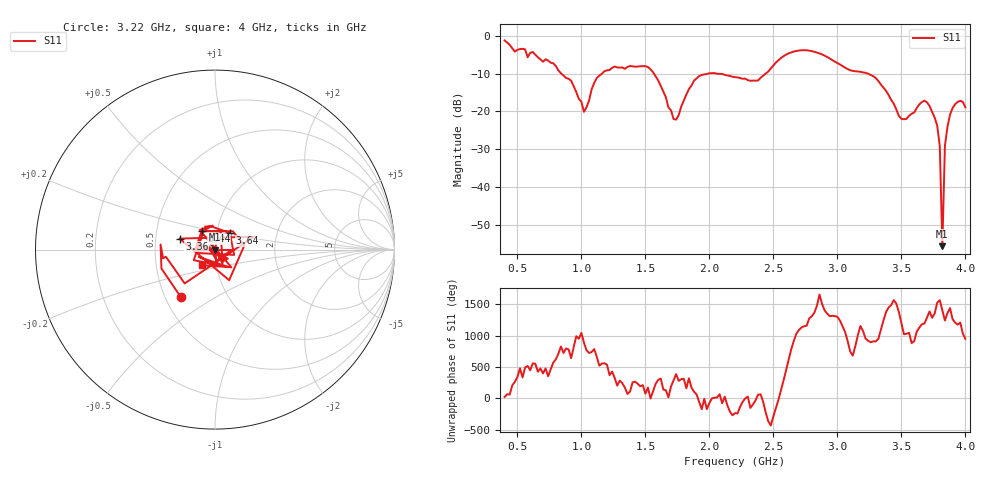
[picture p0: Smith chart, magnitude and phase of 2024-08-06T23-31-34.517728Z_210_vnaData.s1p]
!Created with skrf (http://scikit-rf.org).
# Hz S RI R 50.0
!freq ReS11 ImS11
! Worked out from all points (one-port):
!   181 points, 400 MHz to 4 GHz, reference 50 ohm
!   lowest |S11| = -55.7 dB at 3.82 GHz (marker M1), VSWR 1.00, Z = 50.1 - j0.104 ohm
!   |S11| at or under -10 dB: 1.567 GHz to 1.988 GHz (420.7 MHz wide, 23.7 % of centre); 2.059 GHz to 2.44 GHz (380.7 MHz wide, 16.9 % of centre); 3.24 GHz to end of sweep (the widest 3 of 4)
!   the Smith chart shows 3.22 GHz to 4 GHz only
!   S11 on the Smith chart (normalised r, x): 3.22 GHz: 0.60, -0.35; 3.36 GHz: 0.67, +0.09; 3.44 GHz: 0.84, +0.18; 3.64 GHz: 1.16, +0.22; 4 GHz: 0.85, -0.15
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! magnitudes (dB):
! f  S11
! 400 MHz  -1.2
! 860 MHz  -10.5
! 920 MHz  -11.9
! 1.02 GHz  -20.1
! 1.12 GHz  -11.1
! 1.3 GHz  -8.4
! 1.52 GHz  -8.2
! 1.72 GHz  -22.0
! 1.76 GHz  -21.0
! 1.92 GHz  -10.6
! 2.2 GHz  -10.9
! 2.38 GHz  -11.8
! 2.66 GHz  -4.1
! 3.1 GHz  -9.1
! 3.22 GHz  -9.8
! 3.36 GHz  -13.7
! 3.44 GHz  -17.9
! 3.5 GHz  -21.9
! 3.56 GHz  -21.2
! 3.64 GHz  -18.1
! 3.7 GHz  -17.6
! 3.78 GHz  -23.8
! 3.8 GHz  -29.2
! 3.82 GHz  -55.7
! 3.84 GHz  -29.1
! 3.86 GHz  -24.1
! 3.92 GHz  -18.1
! 4 GHz  -18.9
